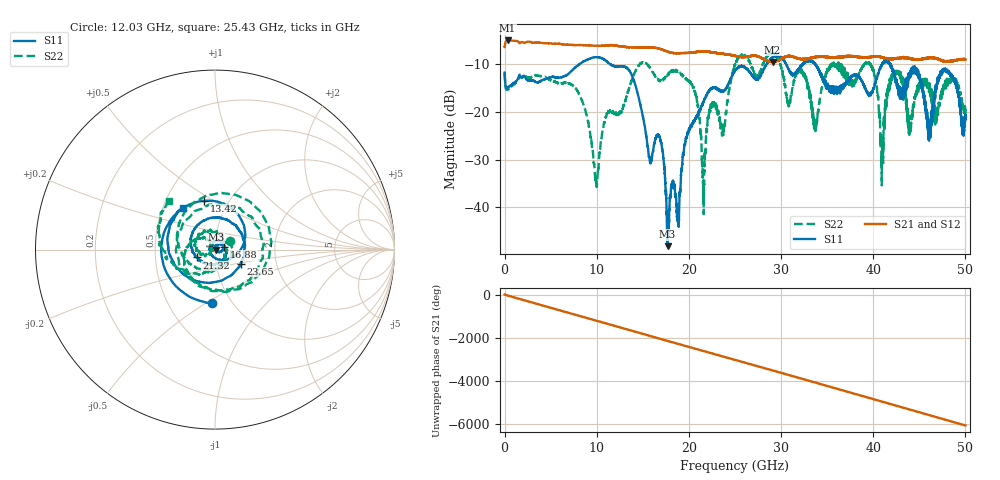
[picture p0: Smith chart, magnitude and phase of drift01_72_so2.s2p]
!Created with skrf (http://scikit-rf.org).
# Hz S RI R 50.0
!freq ReS11 ImS11 ReS21 ImS21 ReS12 ImS12 ReS22 ImS22
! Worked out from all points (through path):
!   10001 points, 300 kHz to 50 GHz, reference 50 ohm
!   highest |S21| = -5.05 dB at 325.3 MHz (marker M1); lowest = -9.6 dB at 29.08 GHz (marker M2)
!   group delay of S21, straight-line fit = 336 ps
!   lowest |S11| = -48.2 dB at 17.69 GHz (marker M3), VSWR 1.01, Z = 50.4 - j0.0898 ohm
!   |S11| at or under -10 dB: start of sweep to 8.151 GHz; 11.43 GHz to 28.41 GHz (16.98 GHz wide, 85.2 % of centre); 41.84 GHz to end of sweep (the widest 3 of 15)
!   |S22| runs from -41.5 to -7.6 dB; largest |S21 - S12| = 0.014
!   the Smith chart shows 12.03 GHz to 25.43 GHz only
!   S11 on the Smith chart (normalised r, x): 12.03 GHz: 0.81, -0.54; 13.42 GHz: 0.77, +0.45; 16.88 GHz: 1.10, +0.03; 21.32 GHz: 0.81, -0.07; 23.65 GHz: 1.32, -0.21; 25.43 GHz: 0.63, +0.32
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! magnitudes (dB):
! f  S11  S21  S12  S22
! 300 kHz  -11.8  -6.4  -6.5  -11.8
! 325.3 MHz  -14.9  -5.0  -5.1  -15.3
! 8.335 GHz  -9.7  -6.0  -6.0  -17.4
! 9.945 GHz  -8.5  -6.2  -6.2  -34.8
! 12.03 GHz  -10.5  -6.1  -6.1  -20.4
! 13.42 GHz  -11.1  -6.5  -6.4  -15.6
! 15.75 GHz  -30.0  -6.5  -6.5  -10.7
! 16.67 GHz  -24.8  -6.7  -6.7  -13.3
! 16.88 GHz  -25.7  -6.8  -6.8  -13.5
! 17.69 GHz  -48.2  -7.4  -7.4  -12.3
! 20.42 GHz  -22.4  -7.6  -7.5  -14.8
! 21.32 GHz  -19.0  -7.4  -7.4  -25.2
! 23.65 GHz  -15.7  -7.9  -7.9  -23.6
! 25 GHz  -11.4  -8.3  -8.3  -10.2
! 25.43 GHz  -10.7  -8.5  -8.5  -8.5
! 29.08 GHz  -8.7  -9.6  -9.5  -7.8
! 33.34 GHz  -9.4  -8.7  -8.7  -19.1
! 39.49 GHz  -16.3  -8.5  -8.6  -9.7
! 40.98 GHz  -9.9  -8.7  -8.6  -27.6
! 41.67 GHz  -9.5  -8.8  -8.9  -14.6
! 48.04 GHz  -11.4  -9.4  -9.4  -14.4
! 50 GHz  -20.8  -9.1  -9.1  -20.1
